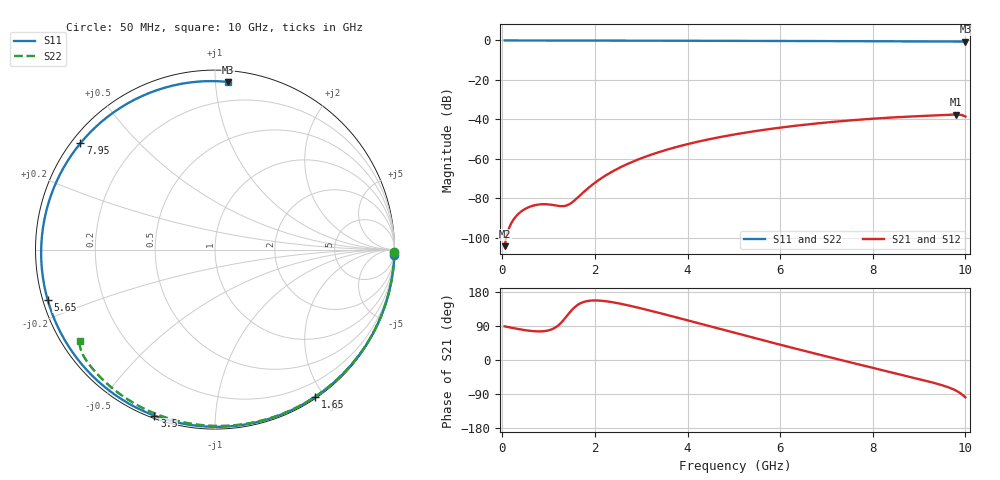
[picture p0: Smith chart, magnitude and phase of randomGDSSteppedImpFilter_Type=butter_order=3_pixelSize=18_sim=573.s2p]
! freq	dB(S11)	phase(S11)	dB(S12)	phase(S12)
!  dB(S21)	phase(S21)	dB(S22)	phase(S22)
!S-par simulation data
#  GHz  S  DB  R 50
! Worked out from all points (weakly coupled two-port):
!   200 points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, 50 MHz to 10 GHz, reference 50 ohm
!   highest |S21| = -37.56 dB at 9.8 GHz (marker M1); lowest = -104.2 dB at 50 MHz (marker M2)
!   lowest |S11| = -0.6 dB at 10 GHz (marker M3), VSWR 30.59, Z = 3.54 + j54 ohm
!   |S11| at or under -10 dB: nowhere
!   |S22| runs from -0.8 to 0.0 dB; largest |S21 - S12| = 0
!   S11 on the Smith chart (normalised r, x): 50 MHz: 0, -65; 1.65 GHz: 0.02, -1.89; 3.5 GHz: 0.01, -0.70; 5.65 GHz: 0.01, -0.15; 7.95 GHz: 0.03, +0.35; 10 GHz: 0.07, +1.08
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0.05  -0.00 -1.8  -104.20 88.8  -104.20 88.8  -0.00 -0.8
0.4  -0.02 -14.0  -86.79 80.6  -86.79 80.6  -0.01 -6.5
0.8  -0.04 -27.7  -83.06 75.5  -83.06 75.5  -0.02 -13.0
1.6  -0.07 -54.3  -80.19 143.0  -80.19 143.0  -0.03 -25.9
1.65  -0.07 -55.9  -79.11 147.2  -79.11 147.2  -0.03 -26.7
1.75  -0.07 -59.1  -76.94 152.8  -76.94 152.8  -0.04 -28.2
2.1  -0.09 -70.0  -70.40 156.8  -70.40 156.8  -0.04 -33.8
2.45  -0.10 -80.5  -65.46 150.9  -65.46 150.9  -0.05 -39.2
2.9  -0.11 -93.6  -60.60 139.0  -60.60 139.0  -0.06 -46.1
3.4  -0.13 -107.4  -56.43 123.9  -56.43 123.9  -0.07 -53.7
3.5  -0.13 -110.1  -55.71 120.7  -55.71 120.7  -0.07 -55.2
4.3  -0.16 -130.7  -50.88 94.9  -50.88 94.9  -0.09 -66.9
5.05  -0.20 -149.1  -47.47 70.6  -47.47 70.6  -0.12 -77.6
5.65  -0.23 -163.4  -45.27 51.4  -45.27 51.4  -0.14 -85.8
6.2  -0.27 -176.3  -43.58 34.1  -43.58 34.1  -0.17 -93.3
6.7  -0.30 171.9  -42.26 18.6  -42.26 18.6  -0.19 -99.9
7.3  -0.34 157.6  -40.91 0.3  -40.91 0.3  -0.23 -107.7
7.95  -0.39 141.7  -39.72 -19.2  -39.72 -19.2  -0.28 -116.0
8.35  -0.42 131.5  -39.12 -31.0  -39.12 -31.0  -0.31 -121.2
9.1  -0.48 111.5  -38.21 -53.4  -38.21 -53.4  -0.38 -130.9
9.8  -0.55 91.5  -37.56 -80.9  -37.56 -80.9  -0.53 -141.5
10  -0.57 85.5  -38.54 -98.5  -38.54 -98.5  -0.83 -146.1
